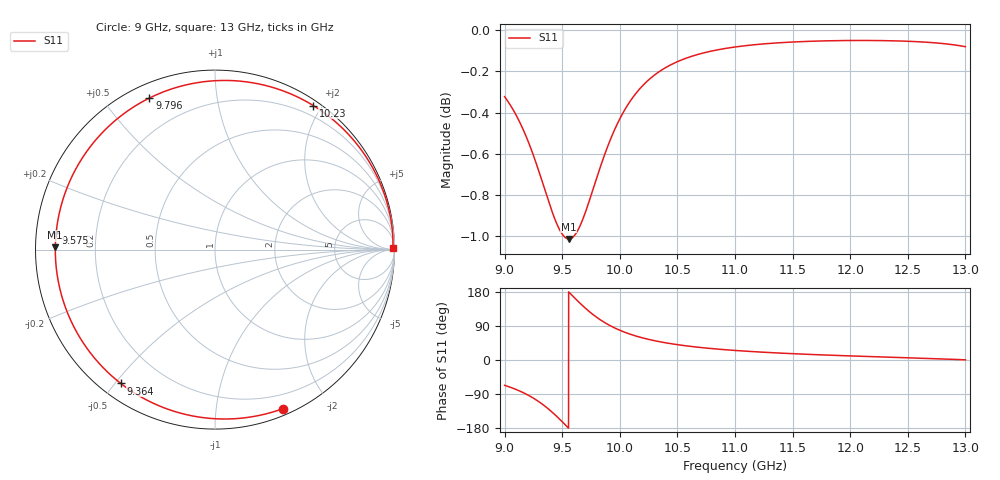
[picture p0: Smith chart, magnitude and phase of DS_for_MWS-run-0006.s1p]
! TOUCHSTONE file generated by CST DESIGN STUDIO
! Date and time: Tue Feb  4 17:14:57 2025
! Project name: C:\Work\MatlabApps\UnitCellOptimizationMatlab\CST\unitcell.cst
! Tree item: Tasks\Sweep1\SPara1\S-Parameters
! Header version: 2024
! Port assignment regex: !\s*Touchstone port\s*([0-9]+)\s*=\s*(CST MWS port|CST DES external port|CST DES block port)\s*(.+)\s* \(\"(.*)\"\)(\s*mode\s*([0-9]+))?.*
! Touchstone port assignment:
! Touchstone port 1 = CST DES external port 1 ("")
# GHz S MA R 50
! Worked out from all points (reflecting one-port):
!   4001 points, 9 GHz to 13 GHz, reference 50 ohm
!   lowest |S11| = -1.0 dB at 9.558 GHz (marker M1), VSWR 17.15, Z = 2.92 + j0.35 ohm
!   phase of S11 starts at -67 deg and turns -293 deg over the sweep
!   S11 on the Smith chart (normalised r, x): 9 GHz: 0.06, -1.51; 9.364 GHz: 0.06, -0.52; 9.575 GHz: 0.06, +0.05; 9.796 GHz: 0.06, +0.66; 10.23 GHz: 0.07, +1.89; 13 GHz: open
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9  0.9635 -66.9
9.039  0.96 -70.8
9.105  0.9531 -78.5
9.217  0.9378 -94.9
9.294  0.9248 -109.3
9.364  0.912 -125.1
9.43  0.9007 -142.4
9.467  0.8956 -153.0
9.5  0.8922 -162.9
9.558  0.8898 179.2
9.575  0.89 173.9
9.63  0.8935 157.1
9.691  0.9015 139.5
9.743  0.9104 125.8
9.796  0.9201 113.4
9.84  0.928 104.2
9.887  0.9358 95.5
10  0.9517 78.5
10.11  0.9629 66.1
10.232  0.9716 55.7
10.356  0.9777 47.7
10.5  0.9826 40.5
10.721  0.9873 32.4
11  0.9907 25.2
11.5  0.9935 16.7
12  0.9943 10.8
12.5  0.9939 5.8
13  0.9909 0.4
